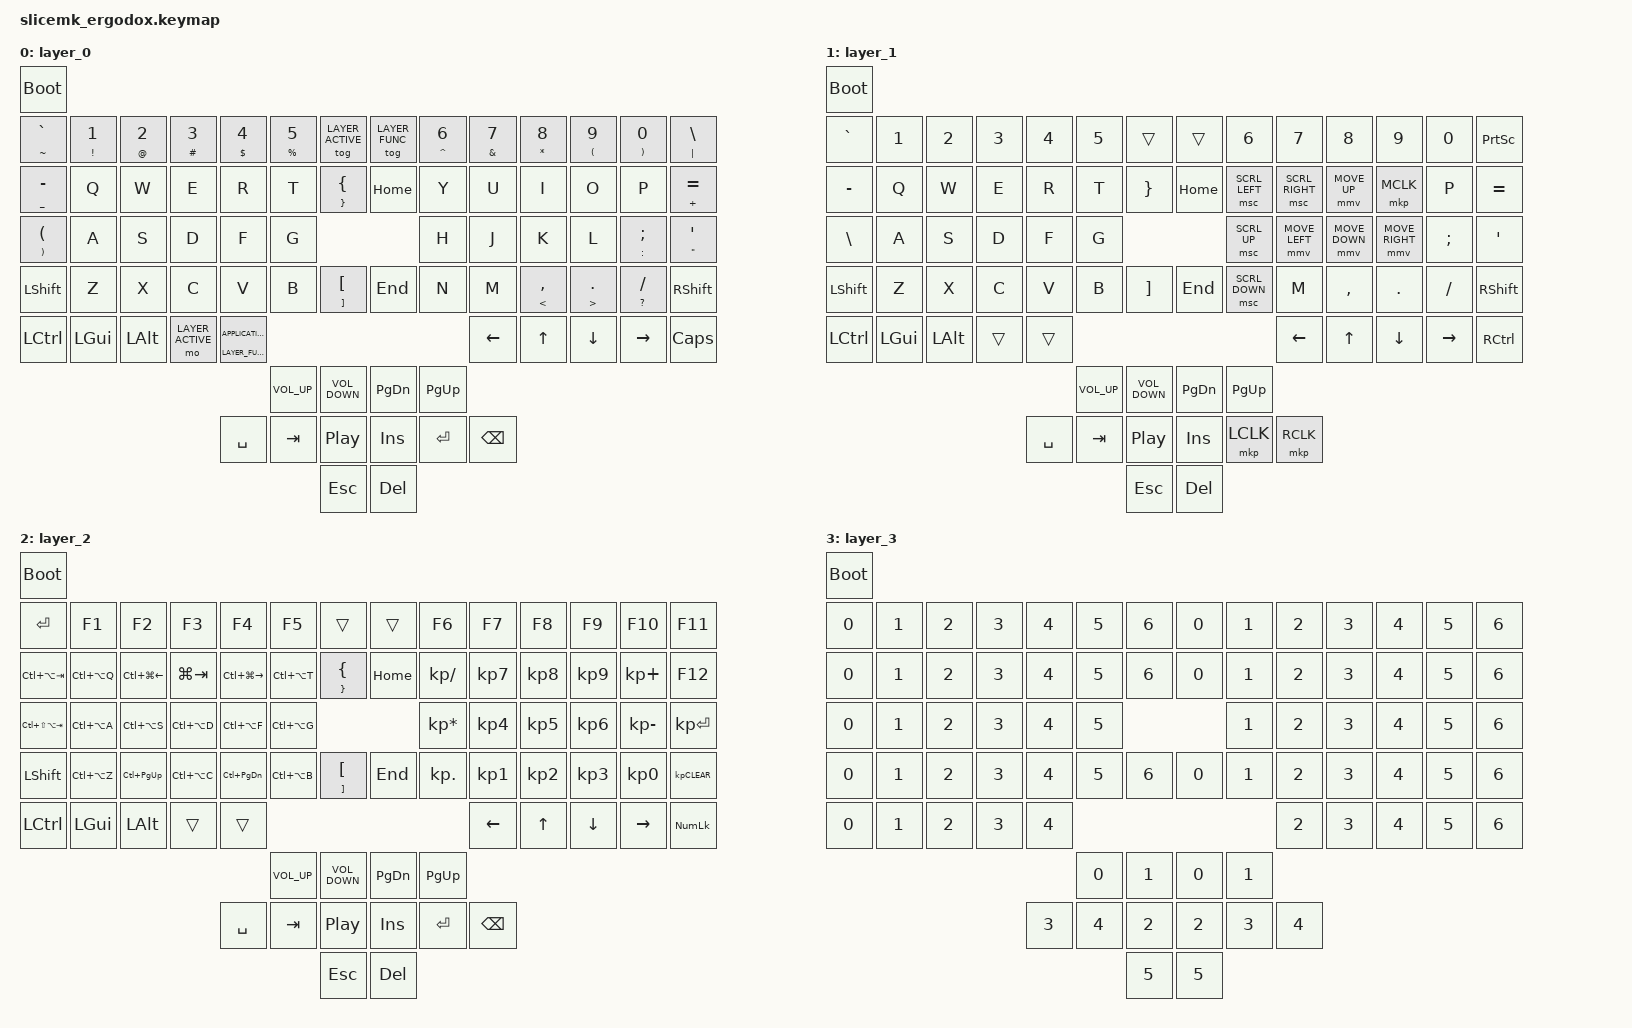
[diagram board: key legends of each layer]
#define ZMK_MOUSE_DEFAULT_MOVE_VAL 1300
#define ZMK_MOUSE_DEFAULT_SCRL_VAL 25
#define LAYER_MAIN 0
#define LAYER_ACTIVE 1
#define LAYER_FUNC 2
#define LAYER_TESTING 3

#include <behaviors.dtsi>
#include <dt-bindings/zmk/bt.h>
#include <dt-bindings/zmk/keys.h>
#include <dt-bindings/zmk/mouse.h>
#include <dt-bindings/zmk/outputs.h>
#include <dt-bindings/zmk/rgb.h>

&mt {
    tapping-term-ms = <250>;
};

/ {
	keymap {
		compatible = "zmk,keymap";
		layer_0 {
			bindings = <
				&bootloader
				&mt TILDE GRAVE                        &mt EXCLAMATION NUMBER_1 &mt AT_SIGN NUMBER_2 &mt HASH NUMBER_3 &mt DOLLAR NUMBER_4          &mt PERCENT NUMBER_5 &tog LAYER_ACTIVE              &tog LAYER_FUNC &mt CARET NUMBER_6 &mt AMPERSAND NUMBER_7 &mt ASTERISK NUMBER_8 &mt LEFT_PARENTHESIS NUMBER_9 &mt RIGHT_PARENTHESIS NUMBER_0 &mt PIPE BACKSLASH
				&mt UNDERSCORE MINUS                   &kp Q                    &kp W                &kp E             &kp R                        &kp T                &mt RIGHT_BRACE LEFT_BRACE     &kp HOME        &kp Y              &kp U                  &kp I                 &kp O                         &kp P                          &mt PLUS EQUAL
				&mt RIGHT_PARENTHESIS LEFT_PARENTHESIS &kp A                    &kp S                &kp D             &kp F                        &kp G                                                               &kp H              &kp J                  &kp K                 &kp L                         &mt COLON SEMICOLON            &mt DOUBLE_QUOTES SINGLE_QUOTE
				&kp LEFT_SHIFT                         &kp Z                    &kp X                &kp C             &kp V                        &kp B                &mt RIGHT_BRACKET LEFT_BRACKET &kp END         &kp N              &kp M                  &mt LESS_THAN COMMA   &mt GREATER_THAN PERIOD       &mt QUESTION SLASH             &kp RIGHT_SHIFT
				&kp LEFT_CONTROL                       &kp LEFT_GUI             &kp LEFT_ALT         &mo LAYER_ACTIVE  &lt LAYER_FUNC K_APPLICATION                                                                                        &kp LEFT_ARROW         &kp UP_ARROW          &kp DOWN_ARROW                &kp RIGHT_ARROW                &kp CAPSLOCK
				                                                                                                                                    &kp C_VOLUME_UP      &kp C_VOLUME_DOWN              &kp PAGE_DOWN   &kp PAGE_UP
				                                                                                                       &kp SPACE                    &kp TAB              &kp C_PLAY_PAUSE               &kp INSERT      &kp RETURN         &kp BACKSPACE
				                                                                                                                                                         &kp ESCAPE                     &kp DELETE
			>;
		};
		layer_1 {
			bindings = <
				&bootloader
				&kp GRAVE        &kp NUMBER_1 &kp NUMBER_2 &kp NUMBER_3 &kp NUMBER_4 &kp NUMBER_5    &trans            &trans        &kp NUMBER_6   &kp NUMBER_7    &kp NUMBER_8   &kp NUMBER_9    &kp NUMBER_0    &kp PRINTSCREEN
				&kp MINUS        &kp Q        &kp W        &kp E        &kp R        &kp T           &kp RIGHT_BRACE   &kp HOME      &msc SCRL_LEFT &msc SCRL_RIGHT &mmv MOVE_UP   &mkp MCLK       &kp P           &kp EQUAL
				&kp BACKSLASH    &kp A        &kp S        &kp D        &kp F        &kp G                                           &msc SCRL_UP   &mmv MOVE_LEFT  &mmv MOVE_DOWN &mmv MOVE_RIGHT &kp SEMICOLON   &kp SINGLE_QUOTE
				&kp LEFT_SHIFT   &kp Z        &kp X        &kp C        &kp V        &kp B           &kp RIGHT_BRACKET &kp END       &msc SCRL_DOWN &kp M           &kp COMMA      &kp PERIOD      &kp SLASH       &kp RIGHT_SHIFT
				&kp LEFT_CONTROL &kp LEFT_GUI &kp LEFT_ALT &trans       &trans                                                                      &kp LEFT_ARROW  &kp UP_ARROW   &kp DOWN_ARROW  &kp RIGHT_ARROW &kp RIGHT_CONTROL
				                                                                     &kp C_VOLUME_UP &kp C_VOLUME_DOWN &kp PAGE_DOWN &kp PAGE_UP
				                                                        &kp SPACE    &kp TAB         &kp C_PLAY_PAUSE  &kp INSERT    &mkp LCLK      &mkp RCLK
				                                                                                     &kp ESCAPE        &kp DELETE
			>;
		};
		layer_2 {
			bindings = <
				&bootloader
				&kp RETURN          &kp F1        &kp F2                 &kp F3        &kp F4                  &kp F5          &trans                         &trans        &kp F6          &kp F7          &kp F8          &kp F9          &kp F10         &kp F11
				&kp LC(LA(TAB))     &kp LC(LA(Q)) &kp LC(LG(LEFT_ARROW)) &kp LG(TAB)   &kp LC(LG(RIGHT_ARROW)) &kp LC(LA(T))   &mt RIGHT_BRACE LEFT_BRACE     &kp HOME      &kp KP_DIVIDE   &kp KP_NUMBER_7 &kp KP_NUMBER_8 &kp KP_NUMBER_9 &kp KP_PLUS     &kp F12
				&kp LC(LS(LA(TAB))) &kp LC(LA(A)) &kp LC(LA(S))          &kp LC(LA(D)) &kp LC(LA(F))           &kp LC(LA(G))                                                &kp KP_MULTIPLY &kp KP_NUMBER_4 &kp KP_NUMBER_5 &kp KP_NUMBER_6 &kp KP_MINUS    &kp KP_ENTER
				&kp LEFT_SHIFT      &kp LC(LA(Z)) &kp LC(PAGE_UP)        &kp LC(LA(C)) &kp LC(PAGE_DOWN)       &kp LC(LA(B))   &mt RIGHT_BRACKET LEFT_BRACKET &kp END       &kp KP_DOT      &kp KP_NUMBER_1 &kp KP_NUMBER_2 &kp KP_NUMBER_3 &kp KP_NUMBER_0 &kp KP_CLEAR
				&kp LEFT_CONTROL    &kp LEFT_GUI  &kp LEFT_ALT           &trans        &trans                                                                                               &kp LEFT_ARROW  &kp UP_ARROW    &kp DOWN_ARROW  &kp RIGHT_ARROW &kp KP_NUMLOCK
				                                                                                               &kp C_VOLUME_UP &kp C_VOLUME_DOWN              &kp PAGE_DOWN &kp PAGE_UP
				                                                                       &kp SPACE               &kp TAB         &kp C_PLAY_PAUSE               &kp INSERT    &kp RETURN      &kp BACKSPACE
				                                                                                                               &kp ESCAPE                     &kp DELETE
			>;
		};
		layer_3 {
			bindings = <
				&bootloader
				&kp NUMBER_0 &kp NUMBER_1 &kp NUMBER_2 &kp NUMBER_3 &kp NUMBER_4 &kp NUMBER_5 &kp NUMBER_6 &kp NUMBER_0 &kp NUMBER_1 &kp NUMBER_2 &kp NUMBER_3 &kp NUMBER_4 &kp NUMBER_5 &kp NUMBER_6
				&kp NUMBER_0 &kp NUMBER_1 &kp NUMBER_2 &kp NUMBER_3 &kp NUMBER_4 &kp NUMBER_5 &kp NUMBER_6 &kp NUMBER_0 &kp NUMBER_1 &kp NUMBER_2 &kp NUMBER_3 &kp NUMBER_4 &kp NUMBER_5 &kp NUMBER_6
				&kp NUMBER_0 &kp NUMBER_1 &kp NUMBER_2 &kp NUMBER_3 &kp NUMBER_4 &kp NUMBER_5                           &kp NUMBER_1 &kp NUMBER_2 &kp NUMBER_3 &kp NUMBER_4 &kp NUMBER_5 &kp NUMBER_6
				&kp NUMBER_0 &kp NUMBER_1 &kp NUMBER_2 &kp NUMBER_3 &kp NUMBER_4 &kp NUMBER_5 &kp NUMBER_6 &kp NUMBER_0 &kp NUMBER_1 &kp NUMBER_2 &kp NUMBER_3 &kp NUMBER_4 &kp NUMBER_5 &kp NUMBER_6
				&kp NUMBER_0 &kp NUMBER_1 &kp NUMBER_2 &kp NUMBER_3 &kp NUMBER_4                                                     &kp NUMBER_2 &kp NUMBER_3 &kp NUMBER_4 &kp NUMBER_5 &kp NUMBER_6
				                                                                 &kp NUMBER_0 &kp NUMBER_1 &kp NUMBER_0 &kp NUMBER_1
				                                                    &kp NUMBER_3 &kp NUMBER_4 &kp NUMBER_2 &kp NUMBER_2 &kp NUMBER_3 &kp NUMBER_4
				                                                                              &kp NUMBER_5 &kp NUMBER_5
			>;
		};
	};
};
